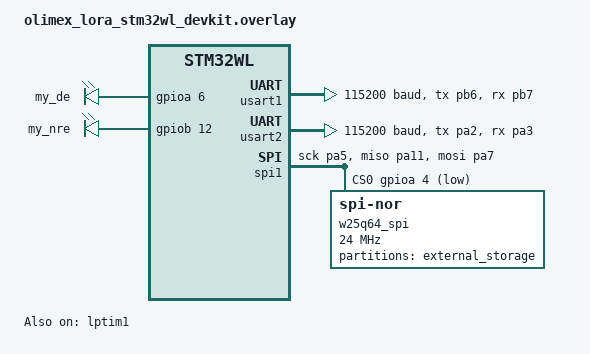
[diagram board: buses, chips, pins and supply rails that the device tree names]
// See also: olimex_lora_stm32wl_devkit.dts
//	stm32wle5jcix-pinctrl.dtsi
&usart1 {
	pinctrl-0 = <&usart1_tx_pb6 &usart1_rx_pb7>;
	pinctrl-names = "default";
	current-speed = <115200>;
	status = "okay";
};

&usart2 {
	status = "okay";
	current-speed = <115200>;
	pinctrl-0 = <&usart2_tx_pa2 &usart2_rx_pa3>;
	pinctrl-names = "default";
};

/ {
	aliases {
		serial-modem = &usart1;
		stm32-lp-tick-source = &lptim1;
		de = &my_de;
		nre = &my_nre;
	};

	chosen {
		zephyr,console = &usart2;
	};

	leds {
		compatible = "gpio-leds";

		my_de: my_de {
			gpios = <&gpioa 6 GPIO_ACTIVE_HIGH>;
		};

		my_nre: my_nre {
			gpios = <&gpiob 12 GPIO_ACTIVE_HIGH>;
		};	
	};
};

&spi1 {
	pinctrl-0 = <&spi1_sck_pa5 &spi1_miso_pa11 &spi1_mosi_pa7>;
	pinctrl-names = "default";
	cs-gpios = <&gpioa 4 GPIO_ACTIVE_LOW>;

	status = "okay";

	w25q64_spi: spi-nor-flash@0 {
		compatible = "jedec,spi-nor";
		reg = <0>;
		spi-max-frequency = <24000000>;
		size = <0x01000000>; /* 128 Mbit = 16 MByte */
		status = "okay";
		jedec-id = [ef 40 18];
		has-dpd;
		t-enter-dpd = <3500>;
		t-exit-dpd = <3500>;

		partitions {
			compatible = "fixed-partitions";
			#address-cells = <1>;
			#size-cells = <1>;

			ext_storage_partition: partition@0 {
				label = "external_storage";
				reg = <0x00000000 0x01000000>; /* Full 128 MBit = 16 MByte */
			};
		};
	};
};

&lptim1 {
	status = "okay";
	/* Use a prescaler of 32 to allow for longer sleep durations 
	 * (up to 64 seconds) at the cost of some tick precision
	 */
	st,prescaler = <32>;
};

&subghzspi {
	status = "disabled";
};
